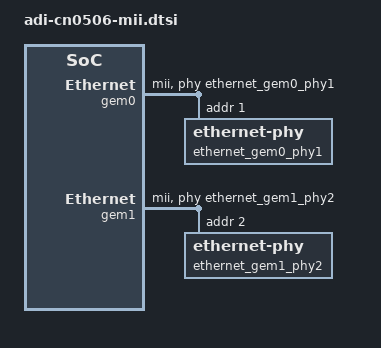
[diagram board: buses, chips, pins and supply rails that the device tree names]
&gem0 {
	status = "okay";
	phy-mode = "mii";
	phy-handle = <&ethernet_gem0_phy1>;
	/* Override compatible string to configure a MAC that works
	 * at 100 Mbit. Otherwise gigabit can be advertised by the
	 * PHY after matching MAC link caps with PHY link caps,
	 * even though, the design won't be able to actually support it
	 */
	compatible = "xlnx,zynq-gem";

	ethernet_gem0_phy1: ethernet-phy@1 {
		reg = <1>;
	};
};

&gem1 {
	status = "okay";
	phy-mode = "mii";
	phy-handle = <&ethernet_gem1_phy2>;
	/* Override compatible string to configure a MAC that works
	 * at 100 Mbit. Otherwise gigabit can be advertised by the
	 * PHY after matching MAC link caps with PHY link caps,
	 * even though, the design won't be able to actually support it
	 */
	compatible = "xlnx,zynq-gem";

	ethernet_gem1_phy2: ethernet-phy@2 {
		reg = <2>;
	};
};
